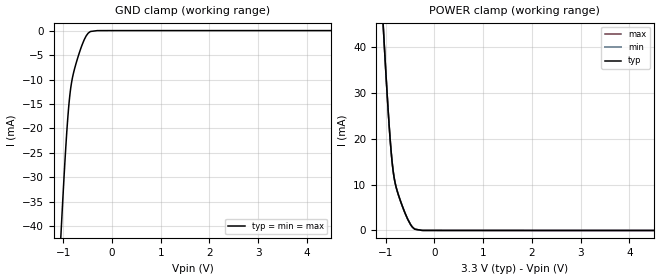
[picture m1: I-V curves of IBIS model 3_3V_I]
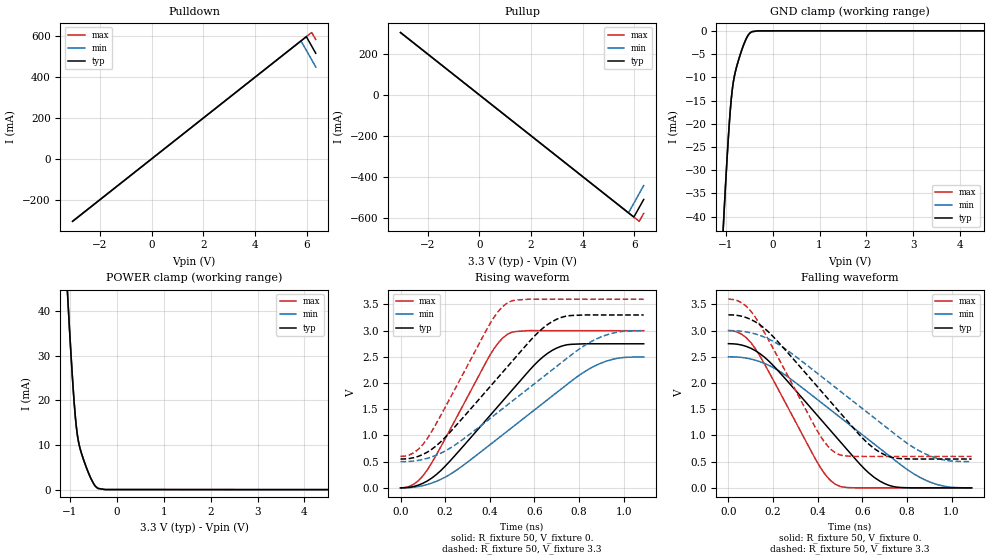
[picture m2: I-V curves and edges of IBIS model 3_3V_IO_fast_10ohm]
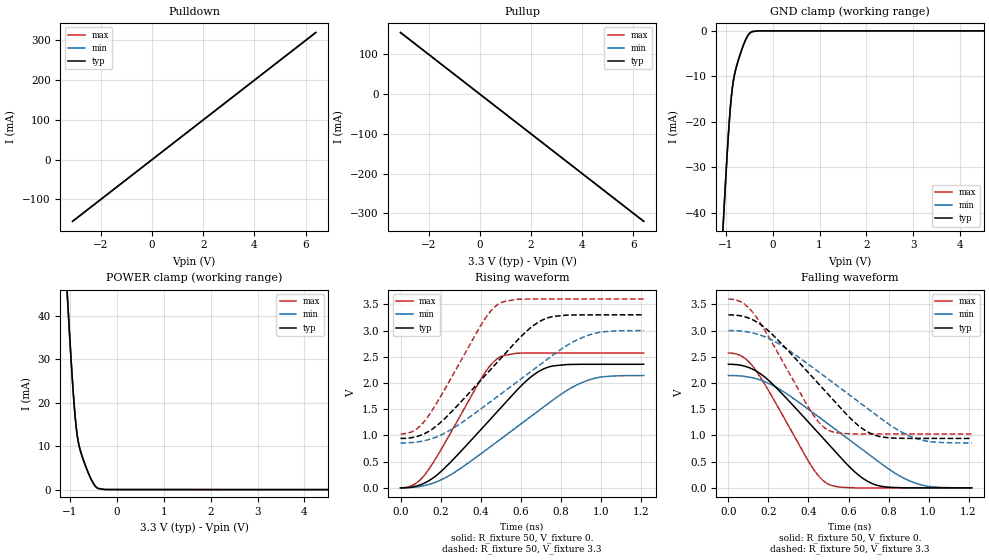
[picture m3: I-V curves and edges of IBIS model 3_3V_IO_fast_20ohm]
|Copyright Signal Integrity Software, Inc.
| Date Mon Nov  7 16:42:05 2005
|IV and VT curves generated from SiAuditor Spice to IBIS 2005.11sp15
|  Signal Integrity Software, Inc. (SiSoft)
|   generic_3_3v Technology Model Library
[IBIS Ver]   3.2
[Disclaimer] THIS IBIS MODEL HAS BEEN CREATED BY THE SIGNAL
             INTEGRITY SOFTWARE SPICE-TO-IBIS PROCESS.
             THESE IBIS MODELS ARE PROVIDED "AS IS" WITH NO
             WARRANTY WHATSOEVER AND SIGNAL INTEGRITY SOFTWARE
             SPECIFICALLY DISCLAIMS ANY IMPLIED WARRANTIES OF
             MERCHANTABILITY, FITNESS FOR A PARTICULAR PURPOSE,
             OR AGAINST INFRINGEMENT.
[File Name]   generic_3_3v.ibs
[File Rev]   1.0
[Date]   8/15/2005
[Source]   Developed by:
Signal Integrity Software, Inc.
6 Clock Tower Place, Suite 250
Maynard, MA 01754
support@sisoft.com
[Notes]
Revision History
Rev 1.0
- 8/15/2005 Inital Release
[Copyright]   Copyright 2007, Signal Integrity Software, Inc.,
All Rights Reserved
[Component] generic_3_3v
[Manufacturer] SiSoft
[Package]
R_pkg 250m   NA   NA
L_pkg 4.0nH  NA   NA
C_pkg 1.0pF  NA   NA
[Pin]  signal_name   model_name   R_pin L_pin  C_pin
CLK   CLK   3_3V_I
CLKP   CLKP   3_3V_I
CLKN   CLKN   3_3V_I
1   3_3V_I   3_3V_I
1p   3_3V_Ip   3_3V_I
1n   3_3V_In   3_3V_I
2   3_3V_IO_fast_10ohm   3_3V_IO_fast_10ohm
2p   3_3V_IO_fast_10ohmp   3_3V_IO_fast_10ohm
2n   3_3V_IO_fast_10ohmn   3_3V_IO_fast_10ohm
3   3_3V_IO_fast_20ohm   3_3V_IO_fast_20ohm
3p   3_3V_IO_fast_20ohmp   3_3V_IO_fast_20ohm
3n   3_3V_IO_fast_20ohmn   3_3V_IO_fast_20ohm
4   3_3V_IO_fast_30ohm   3_3V_IO_fast_30ohm
4p   3_3V_IO_fast_30ohmp   3_3V_IO_fast_30ohm
4n   3_3V_IO_fast_30ohmn   3_3V_IO_fast_30ohm
5   3_3V_IO_fast_40ohm   3_3V_IO_fast_40ohm
5p   3_3V_IO_fast_40ohmp   3_3V_IO_fast_40ohm
5n   3_3V_IO_fast_40ohmn   3_3V_IO_fast_40ohm
6   3_3V_IO_fast_50ohm   3_3V_IO_fast_50ohm
6p   3_3V_IO_fast_50ohmp   3_3V_IO_fast_50ohm
6n   3_3V_IO_fast_50ohmn   3_3V_IO_fast_50ohm
7   3_3V_IO_slow_10ohm   3_3V_IO_slow_10ohm
7p   3_3V_IO_slow_10ohmp   3_3V_IO_slow_10ohm
7n   3_3V_IO_slow_10ohmn   3_3V_IO_slow_10ohm
8   3_3V_IO_slow_20ohm   3_3V_IO_slow_20ohm
8p   3_3V_IO_slow_20ohmp   3_3V_IO_slow_20ohm
8n   3_3V_IO_slow_20ohmn   3_3V_IO_slow_20ohm
9   3_3V_IO_slow_30ohm   3_3V_IO_slow_30ohm
9p   3_3V_IO_slow_30ohmp   3_3V_IO_slow_30ohm
9n   3_3V_IO_slow_30ohmn   3_3V_IO_slow_30ohm
10   3_3V_IO_slow_40ohm   3_3V_IO_slow_40ohm
10p   3_3V_IO_slow_40ohmp   3_3V_IO_slow_40ohm
10n   3_3V_IO_slow_40ohmn   3_3V_IO_slow_40ohm
11   3_3V_IO_slow_50ohm   3_3V_IO_slow_50ohm
11p   3_3V_IO_slow_50ohmp   3_3V_IO_slow_50ohm
11n   3_3V_IO_slow_50ohmn   3_3V_IO_slow_50ohm
12   3_3V_O_fast_10ohm   3_3V_O_fast_10ohm
12p   3_3V_O_fast_10ohmp   3_3V_O_fast_10ohm
12n   3_3V_O_fast_10ohmn   3_3V_O_fast_10ohm
13   3_3V_O_fast_20ohm   3_3V_O_fast_20ohm
13p   3_3V_O_fast_20ohmp   3_3V_O_fast_20ohm
13n   3_3V_O_fast_20ohmn   3_3V_O_fast_20ohm
14   3_3V_O_fast_30ohm   3_3V_O_fast_30ohm
14p   3_3V_O_fast_30ohmp   3_3V_O_fast_30ohm
14n   3_3V_O_fast_30ohmn   3_3V_O_fast_30ohm
15   3_3V_O_fast_40ohm   3_3V_O_fast_40ohm
15p   3_3V_O_fast_40ohmp   3_3V_O_fast_40ohm
15n   3_3V_O_fast_40ohmn   3_3V_O_fast_40ohm
16   3_3V_O_fast_50ohm   3_3V_O_fast_50ohm
16p   3_3V_O_fast_50ohmp   3_3V_O_fast_50ohm
16n   3_3V_O_fast_50ohmn   3_3V_O_fast_50ohm
17   3_3V_O_slow_10ohm   3_3V_O_slow_10ohm
17p   3_3V_O_slow_10ohmp   3_3V_O_slow_10ohm
17n   3_3V_O_slow_10ohmn   3_3V_O_slow_10ohm
18   3_3V_O_slow_20ohm   3_3V_O_slow_20ohm
18p   3_3V_O_slow_20ohmp   3_3V_O_slow_20ohm
18n   3_3V_O_slow_20ohmn   3_3V_O_slow_20ohm
19   3_3V_O_slow_30ohm   3_3V_O_slow_30ohm
19p   3_3V_O_slow_30ohmp   3_3V_O_slow_30ohm
19n   3_3V_O_slow_30ohmn   3_3V_O_slow_30ohm
20   3_3V_O_slow_40ohm   3_3V_O_slow_40ohm
20p   3_3V_O_slow_40ohmp   3_3V_O_slow_40ohm
20n   3_3V_O_slow_40ohmn   3_3V_O_slow_40ohm
21   3_3V_O_slow_50ohm   3_3V_O_slow_50ohm
21p   3_3V_O_slow_50ohmp   3_3V_O_slow_50ohm
21n   3_3V_O_slow_50ohmn   3_3V_O_slow_50ohm
[Diff_Pin] inv_pin vdiff tdelay_typ tdelay_min tdelay_max
CLKP   CLKN   0.1V  NA   NA   NA
1p   1n   0.1V  NA   NA   NA
2p   2n   0.1V  0.0ns 0.0ns 0.0ns
3p   3n   0.1V  0.0ns 0.0ns 0.0ns
4p   4n   0.1V  0.0ns 0.0ns 0.0ns
5p   5n   0.1V  0.0ns 0.0ns 0.0ns
6p   6n   0.1V  0.0ns 0.0ns 0.0ns
7p   7n   0.1V  0.0ns 0.0ns 0.0ns
8p   8n   0.1V  0.0ns 0.0ns 0.0ns
9p   9n   0.1V  0.0ns 0.0ns 0.0ns
10p   10n   0.1V  0.0ns 0.0ns 0.0ns
11p   11n   0.1V  0.0ns 0.0ns 0.0ns
12p   12n   0.1V  0.0ns 0.0ns 0.0ns
13p   13n   0.1V  0.0ns 0.0ns 0.0ns
14p   14n   0.1V  0.0ns 0.0ns 0.0ns
15p   15n   0.1V  0.0ns 0.0ns 0.0ns
16p   16n   0.1V  0.0ns 0.0ns 0.0ns
17p   17n   0.1V  0.0ns 0.0ns 0.0ns
18p   18n   0.1V  0.0ns 0.0ns 0.0ns
19p   19n   0.1V  0.0ns 0.0ns 0.0ns
20p   20n   0.1V  0.0ns 0.0ns 0.0ns
21p   21n   0.1V  0.0ns 0.0ns 0.0ns
| Models and submodels in the file (21): 3_3V_I (Input), 3_3V_IO_fast_10ohm (I/O), 3_3V_IO_fast_20ohm (I/O), 3_3V_IO_fast_30ohm (I/O), 3_3V_IO_fast_40ohm (I/O), 3_3V_IO_fast_50ohm (I/O), 3_3V_IO_slow_10ohm (I/O), 3_3V_IO_slow_20ohm (I/O), 3_3V_IO_slow_30ohm (I/O), 3_3V_IO_slow_40ohm (I/O), 3_3V_IO_slow_50ohm (I/O), 3_3V_O_fast_10ohm (Output), 3_3V_O_fast_20ohm (Output), 3_3V_O_fast_30ohm (Output), 3_3V_O_fast_40ohm (Output), 3_3V_O_fast_50ohm (Output), 3_3V_O_slow_10ohm (Output), 3_3V_O_slow_20ohm (Output), 3_3V_O_slow_30ohm (Output), 3_3V_O_slow_40ohm (Output), 3_3V_O_slow_50ohm (Output)
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[Model] 3_3V_I
|SiSoft Include 3_3v.inc
Model_type Input
|SiSoft Include 3_3v.inc
C_comp 3.002p 2.502p 3.502p
|SiSoft Rth_i 458.333K 500K 428.571K
Vinh = 2
Vinl = 0.8
|SiSoft spice_param ALL RTERM_IN 1MEG
|SiSoft spice_param TT C_COMP 3pF
|SiSoft spice_param SS C_COMP 3.5pF
|SiSoft spice_param FF C_COMP 2.5pF
|SiSoft spice all testbed.mod tech_in_33
[Temperature_Range] 25 100 0
[Voltage Range] 3.3 3. 3.6
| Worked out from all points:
|   GND clamp passes 1 mA (typ) near -0.52 V on its own axis
|   POWER clamp passes 1 mA (typ) near -0.47 V on its own axis
[GND Clamp]
-3.247V   -530.8mA   -530.8mA   -530.8mA
-1.049V   -41.89mA   -41.89mA   -41.89mA
-1.041V   -40.35mA   -40.35mA   -40.35mA
-976.7mV  -28.6mA    -28.6mA    -28.6mA
-920.7mV  -19.68mA   -19.68mA   -19.68mA
-880.7mV  -14.71mA   -14.71mA   -14.71mA
-840.8mV  -11.31mA   -11.31mA   -11.31mA
-768.8mV  -7.832mA   -7.832mA   -7.832mA
-640.9mV  -3.671mA   -3.671mA   -3.671mA
-529mV    -1.069mA   -1.069mA   -1.069mA
-441.1mV  -188.6uA   -188.6uA   -188.6uA
6.538V    0A         0A         0A
[Power Clamp]
-3.247V   526.6mA    526.6mA    526.6mA
-1.048V   43.84mA    43.84mA    43.84mA
-971.2mV  29.61mA    29.61mA    29.61mA
-916.2mV  20.77mA    20.77mA    20.77mA
-872.3mV  15.2mA     15.2mA     15.2mA
-828.3mV  11.51mA    11.51mA    11.51mA
-795.3mV  9.781mA    9.78mA     9.782mA
-751.3mV  8.116mA    8.114mA    8.117mA
-608.4mV  3.895mA    3.894mA    3.897mA
-487.5mV  1.228mA    1.227mA    1.23mA
-399.5mV  271.3uA    270.1uA    272.5uA
6.547V    0A         0A         0A
[Model] 3_3V_IO_fast_10ohm
|SiSoft Include 3_3v.inc
Model_type I/O
|SiSoft Include 3_3v.inc
|C_comp_off 3.002p 2.502p 3.502p
|C_comp_on 3.002p 2.502p 3.502p
C_comp 3.002p 2.502p 3.502p
|SiSoft Rth_i 358.696K 375.001K 346.155K
|SiSoft Rth_r 10. 10. 10.
|SiSoft Rth_f 10. 10. 10.
Vinh = 2
Vinl = 0.8
Cref = 0
Vref = 1.65
Rref = 50
Vmeas = 1.65
|SiSoft spice_param TT Voh 3.3
|SiSoft spice_param SS Voh 3
|SiSoft spice_param FF Voh 3.6
|SiSoft spice_param ALL Vol 0
|SiSoft spice_param ALL R_SERIES 10
|SiSoft spice_param ALL RTERM_IN 1MEG
|SiSoft spice_param TT C_COMP 3pF
|SiSoft spice_param SS C_COMP 3.5pF
|SiSoft spice_param FF C_COMP 2.5pF
|SiSoft spice all testbed.mod tech_io_33
|SiSoft stimulus_rise_time 0.75n 1.0n 0.5n
[Temperature_Range] 25 100 0
[Voltage Range] 3.3 3. 3.6
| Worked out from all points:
|   slope of the pulldown table from 0 to 0.495 V, typ, clamps not added: 10 ohm
|   slope of the pullup table from 0 to 0.495 V, typ, clamps not added: 10 ohm
|   GND clamp passes 1 mA (typ) near -0.52 V on its own axis
|   POWER clamp passes 1 mA (typ) near -0.47 V on its own axis
|   rising waveform, R_fixture 50, V_fixture 0.: 20-80 % time 339ps typ, 451ps min, 227ps max; typ from 0 V to 2.75 V
|   rising waveform, R_fixture 50, V_fixture 3.3: 20-80 % time 339ps typ, 451ps min, 227ps max; typ from 0.55 V to 3.3 V
|   falling waveform, R_fixture 50, V_fixture 0.: 20-80 % time 339ps typ, 451ps min, 227ps max; typ from 2.75 V to 0 V
|   falling waveform, R_fixture 50, V_fixture 3.3: 20-80 % time 339ps typ, 451ps min, 227ps max; typ from 3.3 V to 0.55 V
[Pulldown]
-3.059V   -305.9mA   -305.9mA   -305.9mA
5.771V    577.1mA    577.1mA    577.1mA
5.99V     597.8mA    531mA      599mA
6.189V    553.5mA    486.3mA    618.8mA
6.351V    517.3mA    450mA      584.4mA
[Pullup]
-3.051V   305.1mA    305.1mA    305.1mA
5.76V     -576mA     -576mA     -576mA
5.779V    -577.9mA   -575.4mA   -577.9mA
5.979V    -597.3mA   -530.1mA   -597.9mA
6.188V    -550.6mA   -482.5mA   -618.6mA
6.359V    -511.8mA   -443.6mA   -579.8mA
[GND Clamp]
-3.059V   -488.2mA   -488.2mA   -488.2mA
-1.052V   -42.53mA   -42.53mA   -42.53mA
-1.045V   -41.14mA   -41.14mA   -41.15mA
-980.7mV  -29.29mA   -29.29mA   -29.29mA
-923.7mV  -20.11mA   -20.1mA    -20.1mA
-881mV    -14.75mA   -14.74mA   -14.74mA
-838.3mV  -11.14mA   -11.15mA   -11.15mA
-767.1mV  -7.767mA   -7.767mA   -7.766mA
-624.7mV  -3.221mA   -3.221mA   -3.221mA
-532.2mV  -1.132mA   -1.125mA   -1.128mA
-439.6mV  -186uA     -180.5uA   -189.5uA
6.351V    0A         0A         0A
[Power Clamp]
-3.059V   484.6mA    484.6mA    484.6mA
-1.047V   43.59mA    43.59mA    43.6mA
-1.036V   41.46mA    41.46mA    41.46mA
-969.1mV  29.24mA    29.24mA    29.25mA
-924.6mV  22.01mA    22mA       22mA
-880.1mV  16.07mA    16.07mA    16.06mA
-835.6mV  12mA       12.01mA    12.01mA
-768.9mV  8.733mA    8.733mA    8.735mA
-635.5mV  4.626mA    4.624mA    4.626mA
-491mV    1.293mA    1.287mA    1.296mA
-402mV    284.4uA    276.1uA    278.9uA
6.359V    0A         0A         0A
[Ramp]
dV/dt_r 1.65/339p 1.5/451.209p 1.8/226.997p
dV/dt_f 1.65/338.938p 1.5/451.205p 1.8/227.017p
[Rising Waveform]
R_fixture = 50
V_fixture = 0.
0s        16.68uV    16.68uV    16.68uV
60ps      26.73mV    12.73mV    70.84mV
120ps     131.6mV    63.9mV     341.1mV
240ps     597.6mV    305.8mV    1.254V
400ps     1.375V     819.7mV    2.526V
480ps     1.766V     1.086V     2.933V
620ps     2.43V      1.553V     3.001V
720ps     2.702V     1.886V     3V
900ps     2.75V      2.383V     3V
1.09ns    2.75V      2.5V       3V
[Rising Waveform]
R_fixture = 50
V_fixture = 3.3
V_fixture_min = 3.
V_fixture_max = 3.6
0s        550mV      500mV      600mV
60ps      576.7mV    512.7mV    670.8mV
120ps     681.6mV    563.9mV    941.1mV
240ps     1.148V     805.8mV    1.854V
400ps     1.925V     1.32V      3.126V
480ps     2.316V     1.586V     3.533V
620ps     2.98V      2.053V     3.601V
720ps     3.252V     2.386V     3.6V
900ps     3.3V       2.883V     3.6V
1.09ns    3.3V       3V         3.6V
[Falling Waveform]
R_fixture = 50
V_fixture = 0.
0s        2.75V      2.5V       3V
60ps      2.723V     2.487V     2.929V
120ps     2.618V     2.436V     2.659V
240ps     2.152V     2.194V     1.746V
410ps     1.326V     1.647V     402.7mV
480ps     984mV      1.414V     67.21mV
630ps     281.4mV    913.9mV    -6.1uV
720ps     47.62mV    613.9mV    18.97uV
900ps     -23.08uV   116.9mV    16.66uV
1.09ns    16.72uV    533.8uV    16.68uV
[Falling Waveform]
R_fixture = 50
V_fixture = 3.3
V_fixture_min = 3.
V_fixture_max = 3.6
0s        3.3V       3V         3.6V
60ps      3.273V     2.987V     3.529V
120ps     3.168V     2.936V     3.259V
240ps     2.702V     2.694V     2.346V
410ps     1.876V     2.147V     1.003V
480ps     1.534V     1.914V     667.2mV
630ps     831.4mV    1.414V     600mV
720ps     597.6mV    1.114V     600mV
900ps     550mV      616.9mV    600mV
1.09ns    550mV      500.5mV    600mV
[Model] 3_3V_IO_fast_20ohm
|SiSoft Include 3_3v.inc
Model_type I/O
|SiSoft Include 3_3v.inc
|C_comp_off 3.002p 2.502p 3.502p
|C_comp_on 3.002p 2.502p 3.502p
C_comp 3.002p 2.502p 3.502p
|SiSoft Rth_i 358.696K 375.001K 346.155K
|SiSoft Rth_r 20.001 20.001 20.001
|SiSoft Rth_f 19.999 19.999 19.999
Vinh = 2
Vinl = 0.8
Cref = 0
Vref = 1.65
Rref = 50
Vmeas = 1.65
|SiSoft spice_param TT Voh 3.3
|SiSoft spice_param SS Voh 3
|SiSoft spice_param FF Voh 3.6
|SiSoft spice_param ALL Vol 0
|SiSoft spice_param ALL R_SERIES 20
|SiSoft spice_param ALL RTERM_IN 1MEG
|SiSoft spice_param TT C_COMP 3pF
|SiSoft spice_param SS C_COMP 3.5pF
|SiSoft spice_param FF C_COMP 2.5pF
|SiSoft spice all testbed.mod tech_io_33
|SiSoft stimulus_rise_time 0.75n 1.0n 0.5n
[Temperature_Range] 25 100 0
[Voltage Range] 3.3 3. 3.6
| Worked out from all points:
|   slope of the pulldown table from 0 to 0.495 V, typ, clamps not added: 20 ohm
|   slope of the pullup table from 0 to 0.495 V, typ, clamps not added: 20 ohm
|   GND clamp passes 1 mA (typ) near -0.52 V on its own axis
|   POWER clamp passes 1 mA (typ) near -0.47 V on its own axis
|   rising waveform, R_fixture 50, V_fixture 0.: 20-80 % time 342ps typ, 454ps min, 231ps max; typ from 0 V to 2.36 V
|   rising waveform, R_fixture 50, V_fixture 3.3: 20-80 % time 342ps typ, 454ps min, 231ps max; typ from 0.943 V to 3.3 V
|   falling waveform, R_fixture 50, V_fixture 0.: 20-80 % time 342ps typ, 454ps min, 230ps max; typ from 2.36 V to 0 V
|   falling waveform, R_fixture 50, V_fixture 3.3: 20-80 % time 342ps typ, 454ps min, 230ps max; typ from 3.3 V to 0.943 V
[Pulldown]
-3.103V   -155.1mA   -155.1mA   -155.1mA
4.647V    232.3mA    232.3mA    232.3mA
4.657V    232.8mA    232.8mA    232.8mA
6.395V    319.7mA    319.7mA    319.7mA
[Pullup]
-3.095V   154.7mA    154.7mA    154.7mA
-2.499V   125mA      125mA      125mA
4.684V    -234.2mA   -234.2mA   -234.2mA
6.403V    -320.1mA   -320.1mA   -320.1mA
[GND Clamp]
-3.103V   -498.1mA   -498.1mA   -498.1mA
-1.056V   -43.44mA   -43.44mA   -43.44mA
-1.049V   -42.03mA   -42.03mA   -42.02mA
-984.4mV  -29.94mA   -29.94mA   -29.95mA
-926.8mV  -20.53mA   -20.54mA   -20.54mA
-883.5mV  -15.02mA   -15.02mA   -15.01mA
-840.3mV  -11.28mA   -11.28mA   -11.27mA
-775.4mV  -8.084mA   -8.083mA   -8.085mA
-638.5mV  -3.603mA   -3.601mA   -3.604mA
-530.4mV  -1.096mA   -1.091mA   -1.1mA
-444mV    -207.2uA   -203.7uA   -208.1uA
6.395V    0A         0A         0A
[Power Clamp]
-3.103V   494.3mA    494.3mA    494.4mA
-1.052V   44.66mA    44.66mA    44.66mA
-973.9mV  30.07mA    30.07mA    30.08mA
-929.1mV  22.68mA    22.67mA    22.69mA
-884.3mV  16.55mA    16.54mA    16.56mA
-839.4mV  12.27mA    12.28mA    12.27mA
-805.8mV  10.27mA    10.27mA    10.27mA
-772.2mV  8.853mA    8.852mA    8.855mA
-637.7mV  4.687mA    4.684mA    4.688mA
-492mV    1.311mA    1.309mA    1.315mA
-402.4mV  286.1uA    282.3uA    286.5uA
6.403V    0A         0A         0A
[Ramp]
dV/dt_r 1.414/342.109p 1.286/454.008p 1.543/230.632p
dV/dt_f 1.414/341.812p 1.286/453.868p 1.543/230.479p
[Rising Waveform]
R_fixture = 50
V_fixture = 0.
0s        28.59uV    28.59uV    28.59uV
60ps      17.36mV    8.102mV    47.17mV
120ps     91.51mV    43.46mV    243.1mV
220ps     375.8mV    184.3mV    845.1mV
410ps     1.146V     673.7mV    2.126V
500ps     1.523V     929mV      2.503V
650ps     2.111V     1.357V     2.571V
750ps     2.316V     1.643V     2.571V
950ps     2.357V     2.069V     2.571V
1.215ns   2.357V     2.143V     2.571V
[Rising Waveform]
R_fixture = 50
V_fixture = 3.3
V_fixture_min = 3.
V_fixture_max = 3.6
0s        942.8mV    857.1mV    1.029V
60ps      960.2mV    865.2mV    1.076V
120ps     1.034V     900.6mV    1.272V
220ps     1.319V     1.041V     1.874V
410ps     2.089V     1.531V     3.154V
500ps     2.466V     1.786V     3.532V
650ps     3.054V     2.214V     3.6V
750ps     3.259V     2.5V       3.6V
950ps     3.3V       2.926V     3.6V
1.215ns   3.3V       3V         3.6V
[Falling Waveform]
R_fixture = 50
V_fixture = 0.
0s        2.357V     2.143V     2.571V
60ps      2.34V      2.135V     2.524V
120ps     2.266V     2.099V     2.328V
220ps     1.981V     1.959V     1.726V
410ps     1.211V     1.469V     443mV
500ps     834.3mV    1.214V     68.16mV
650ps     243.6mV    785.7mV    497.5uV
750ps     40.65mV    500.1mV    35.3uV
950ps     207.5uV    71mV       28.59uV
1.215ns   28.68uV    301.1uV    28.59uV
[Falling Waveform]
R_fixture = 50
V_fixture = 3.3
V_fixture_min = 3.
V_fixture_max = 3.6
0s        3.3V       3V         3.6V
60ps      3.283V     2.992V     3.553V
120ps     3.208V     2.956V     3.357V
220ps     2.924V     2.816V     2.755V
410ps     2.154V     2.326V     1.472V
500ps     1.777V     2.071V     1.097V
650ps     1.186V     1.643V     1.029V
750ps     983.5mV    1.357V     1.029V
950ps     943mV      928.1mV    1.029V
1.215ns   942.8mV    857.4mV    1.029V
